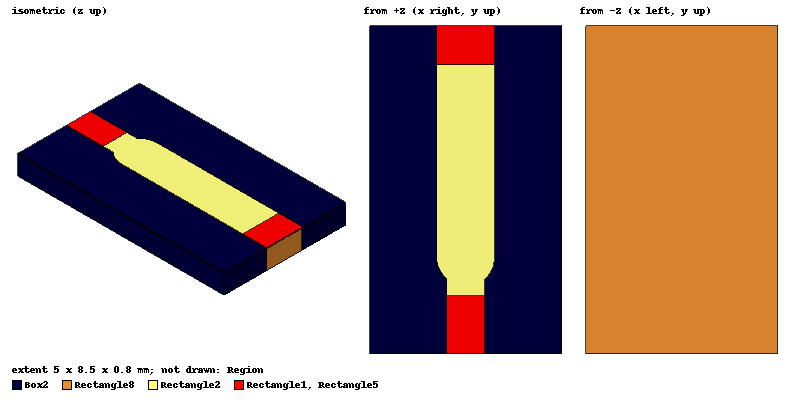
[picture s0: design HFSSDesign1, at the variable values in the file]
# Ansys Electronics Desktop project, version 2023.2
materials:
  vacuum: permittivity=1
  FR4_epoxy: permittivity=4.4 dielectric_loss_tangent=0.02
  air: permittivity=1.0006 permeability=1.0000004

design HFSSDesign1 (HFSS, HFSS Terminal Network, model units mm)
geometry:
  Rectangle1 = rectangle(corner=(0mm, 0mm, 0mm), x_size=1mm, y_size=1.5mm)
  Rectangle2 = rectangle(corner=(0mm, 1.5mm, 0mm), x_size=1mm, y_size=1mm)
  Circle2 = circle(normal=Z, centre=(0.5mm, 2.5mm, 0mm), radius=(1.49944/2) mm)
  Rectangle2.unite(Circle2)
  Rectangle3 = rectangle(corner=(-0.25mm, 2.5mm, 0mm), x_size=1.5mm, y_size=3mm)
  Rectangle2.unite(Rectangle3)
  Rectangle4 = rectangle(corner=(-0.25mm, 5.5mm, 0mm), x_size=1.49944mm, y_size=2mm)
  Rectangle2.unite(Rectangle4)
  Rectangle5 = rectangle(corner=(-0.25mm, 7.5mm, 0mm), x_size=1.49944mm, y_size=1mm)
  Box1 = box(corner=(-2mm, 0mm, 0mm), size=(3.24944mm, 8.5mm, -0.8mm))
  Box2 [FR4_epoxy] = box(corner=(3mm, 0mm, 0mm), size=(-3.25mm, 8.5mm, -0.8mm))
  Box2.unite(Box1)
  Rectangle6 = rectangle(corner=(1.24944mm, 8.5mm, 0mm), z_size=-0.8mm, x_size=-1.44944mm)
  Rectangle7 = rectangle(corner=(0mm, 0mm, 0mm), z_size=-0.8mm, x_size=1mm)
  Rectangle8 = rectangle(corner=(3mm, 0mm, -0.8mm), x_size=-5mm, y_size=8.5mm)
  Rectangle8.unite(Rectangle6, Rectangle7)
  Region [air] = region(absolute_offset=10mm on all sides)
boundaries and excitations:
  PerfE1: Perfect E Objects=[Rectangle2, Rectangle8]
  Rad1: Radiation Objects=Region
  1: Lumped Port Objects=Rectangle1 LumpedPortType=Modal Modes{Mode1{IntLine{(0.5, 0, 0) -> (0.5, 1.5, 0)} CharImp=Zpi RenormImp=50ohm}} Impedance=50ohm
  2: Lumped Port Objects=Rectangle5 LumpedPortType=Modal Modes{Mode1{IntLine{(0.49972, 7.5, 0) -> (0.5, 8.5, 0)} CharImp=Zpi RenormImp=50ohm}} Impedance=50ohm
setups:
  Setup1: HfssDriven Frequency=0.868GHz MaxDeltaS=0.02 MaximumPasses=20 MinimumPasses=1 MinimumConvergedPasses=1 PercentRefinement=30 BasisOrder=1 PortAccuracy=2 DrivenSolverType="Direct Solver"
    sweep Sweep: 0.2GHz to 5GHz, 401 points; Type=Interpolating InterpTolerance=0.5 InterpMaxSolns=250 PassivityErrorTolerance=0.0001
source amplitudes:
  1:1: 1V 0deg
  2:1: 0V 0deg
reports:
  Z Parameter Plot 1: re(Z(2,1)) vs Freq on Setup1 : Sweep; im(Z(2,1)) vs Freq; markers MX1 at x=3.5876742e+09, MY1 at y=0
  Z Parameter Plot 2: im(Z(2,1)) vs Freq on Setup1 : Sweep; markers MX1 at x=8.7272727e+08, MY1 at y=50
  Terminal Z Parameter Plot 1: mag(Zt(1,1)) vs Freq on Setup1 : Sweep; markers MX1 at x=8.5876508e+08
